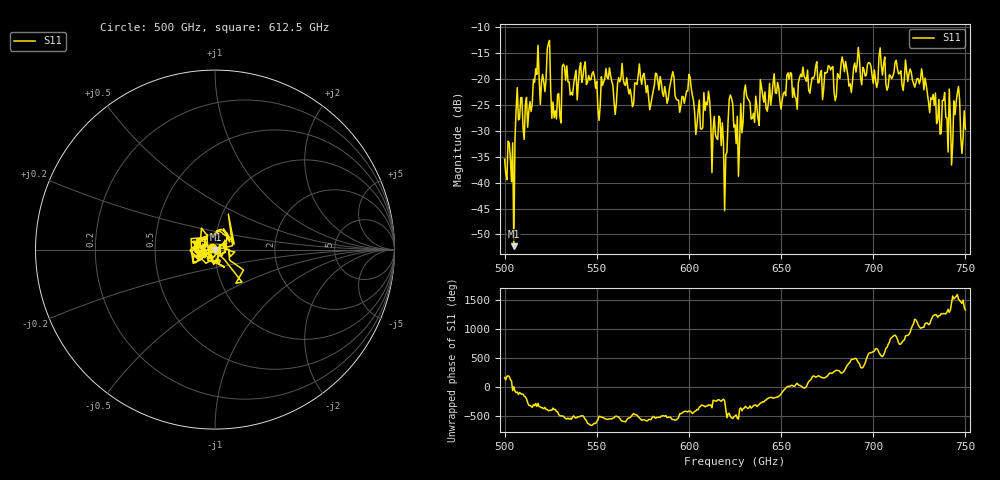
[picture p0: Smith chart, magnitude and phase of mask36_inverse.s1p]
!Created with skrf (http://scikit-rf.org).
# GHz S MA R 50.0
!freq magS11 angS11
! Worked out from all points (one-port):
!   401 points, 500 GHz to 750 GHz, reference 50 ohm
!   lowest |S11| = -52.3 dB at 505 GHz (marker M1), VSWR 1.00, Z = 50.2 - j0.0163 ohm
!   |S11| at or under -10 dB: start of sweep to end of sweep
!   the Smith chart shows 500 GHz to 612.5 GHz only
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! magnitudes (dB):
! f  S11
! 500 GHz  -35.5
! 505 GHz  -52.3
! 507.5 GHz  -27.9
! 513.8 GHz  -24.4
! 516.9 GHz  -18.0
! 520.6 GHz  -19.1
! 523.8 GHz  -13.1
! 526.9 GHz  -27.5
! 531.2 GHz  -17.6
! 562.5 GHz  -20.5
! 593.8 GHz  -24.1
! 609.4 GHz  -24.5
! 619.4 GHz  -45.4
! 622.5 GHz  -23.1
! 625 GHz  -28.8
! 628.1 GHz  -24.7
! 631.2 GHz  -23.2
! 634.4 GHz  -27.6
! 656.2 GHz  -23.5
! 676.9 GHz  -18.2
! 680 GHz  -23.2
! 683.8 GHz  -16.9
! 687.5 GHz  -20.9
! 691.2 GHz  -17.2
! 718.8 GHz  -20.5
! 741.9 GHz  -27.7
! 745 GHz  -24.5
! 750 GHz  -29.7
